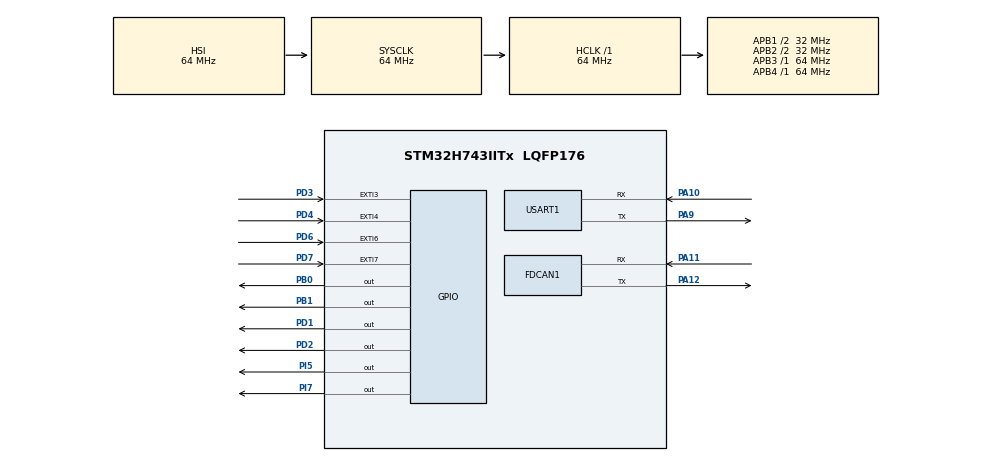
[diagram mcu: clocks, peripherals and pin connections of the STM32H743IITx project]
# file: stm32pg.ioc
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CORTEX_M7.CPU_DCache=Disabled
FDCAN1.CalculateBaudRateNominal=625000
FDCAN1.CalculateTimeBitNominal=1600
FDCAN1.CalculateTimeQuantumNominal=320.0
FDCAN1.Mode=FDCAN_MODE_NORMAL
IWDG1.Prescaler=IWDG_PRESCALER_32
Mcu.Family=STM32H7
Mcu.Name=STM32H743IITx
Mcu.Package=LQFP176
NVIC.EXTI9_5_IRQn=true\:3\:0\:true\:false\:true\:true\:true\:true
NVIC.FDCAN1_IT0_IRQn=true\:4\:0\:true\:false\:true\:true\:true\:true
NVIC.PriorityGroup=NVIC_PRIORITYGROUP_4
NVIC.TIM3_IRQn=true\:10\:0\:true\:false\:true\:true\:true\:true
NVIC.USART1_IRQn=true\:0\:0\:true\:false\:true\:true\:true\:true
PA10.GPIO_PuPd=GPIO_PULLUP
PA10.GPIO_Speed=GPIO_SPEED_FREQ_HIGH
PA10.Mode=Asynchronous
PA10.Signal=USART1_RX
PA11.GPIO_PuPd=GPIO_PULLUP
PA11.GPIO_Speed=GPIO_SPEED_FREQ_HIGH
PA11.Mode=FDCAN_Activate
PA11.Signal=FDCAN1_RX
PA12.GPIO_PuPd=GPIO_PULLUP
PA12.GPIO_Speed=GPIO_SPEED_FREQ_HIGH
PA12.Mode=FDCAN_Activate
PA12.Signal=FDCAN1_TX
PA9.GPIO_PuPd=GPIO_PULLUP
PA9.GPIO_Speed=GPIO_SPEED_FREQ_HIGH
PA9.Mode=Asynchronous
PA9.Signal=USART1_TX
PB0.GPIO_PuPd=GPIO_PULLUP
PB0.GPIO_Speed=GPIO_SPEED_FREQ_HIGH
PB0.PinState=GPIO_PIN_SET
PB0.Signal=GPIO_Output
PB1.GPIO_PuPd=GPIO_PULLUP
PB1.GPIO_Speed=GPIO_SPEED_FREQ_HIGH
PB1.PinState=GPIO_PIN_SET
PB1.Signal=GPIO_Output
PD1.GPIO_PuPd=GPIO_PULLUP
PD1.Signal=GPIO_Output
PD2.GPIO_PuPd=GPIO_PULLUP
PD2.Signal=GPIO_Output
PD3.GPIO_PuPd=GPIO_PULLUP
PD3.Signal=GPXTI3
PD4.GPIO_PuPd=GPIO_PULLUP
PD4.Signal=GPXTI4
PD6.GPIO_PuPd=GPIO_PULLUP
PD6.Signal=GPXTI6
PD7.GPIO_PuPd=GPIO_PULLUP
PD7.Signal=GPXTI7
PI5.GPIO_PuPd=GPIO_PULLUP
PI5.GPIO_Speed=GPIO_SPEED_FREQ_HIGH
PI5.PinState=GPIO_PIN_SET
PI5.Signal=GPIO_Output
PI7.GPIO_PuPd=GPIO_PULLUP
PI7.GPIO_Speed=GPIO_SPEED_FREQ_HIGH
PI7.PinState=GPIO_PIN_SET
PI7.Signal=GPIO_Output
ProjectManager.HeapSize=0x200
ProjectManager.StackSize=0x400
ProjectManager.TargetToolchain=STM32CubeIDE
RCC.ADCFreq_Value=129000000
RCC.APB1Freq_Value=32000000
RCC.APB2Freq_Value=32000000
RCC.APB3Freq_Value=64000000
RCC.APB4Freq_Value=64000000
RCC.CortexFreq_Value=64000000
RCC.D2PPRE1=RCC_APB1_DIV2
RCC.D2PPRE2=RCC_APB2_DIV2
RCC.DIVM1=4
RCC.DIVN1=9
RCC.DIVQ1=3
RCC.HCLKFreq_Value=64000000
RCC.PLLFRACN=3072
RCC.SYSCLKFreq_VALUE=64000000
RCC.USBFreq_Value=50000000
TIM3.Period=7
TIM3.Prescaler=199
USART1.VirtualMode-Asynchronous=VM_ASYNC
VP_IWDG1_VS_IWDG.Mode=IWDG_Activate
VP_TIM3_VS_ClockSourceINT.Mode=Internal
board=custom

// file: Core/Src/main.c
/* USER CODE BEGIN Header */
/**
  ******************************************************************************
  * @file           : main.c
  * @brief          : Main program body
  ******************************************************************************
  * @attention
  *
  * Copyright (c) 2023 STMicroelectronics.
  * All rights reserved.
  *
  * This software is licensed under terms that can be found in the LICENSE file
  * in the root directory of this software component.
  * If no LICENSE file comes with this software, it is provided AS-IS.
  *
  ******************************************************************************
  */
/* USER CODE END Header */
#include "main.h"

FDCAN_HandleTypeDef hfdcan1;

IWDG_HandleTypeDef hiwdg1;

TIM_HandleTypeDef htim3;

UART_HandleTypeDef huart1;

/* USER CODE BEGIN PV */
static uint8_t machine_sta = 0;//machine status
static uint8_t plane_sta=1,spray_sta=1;
static uint8_t pul_sta=1,dir_sta=1,ena_sta=1;
static uint32_t set_speed = 100;//set speed is 100 actually 70r/min motor output without reducer
static uint32_t delay_time = 1000000;

static uint8_t Gate1_seed_num = 0, Gate2_seed_num = 0;//seed number of each gate
static uint32_t receive_seed_num = 0b0;
static uint8_t receive_usart1[USART_REC_LEN];

static uint8_t LEDRED_Status= 0, LEDGREEN_Status = 0;

FDCAN_TxHeaderTypeDef TxHeader;
uint8_t *TxData;

FDCAN_RxHeaderTypeDef RxHeader;
uint8_t *RxData;
/* USER CODE END PV */

void SystemClock_Config(void);
static void MX_GPIO_Init(void);
static void MX_USART1_UART_Init(void);
static void MX_IWDG1_Init(void);
static void MX_FDCAN1_Init(void);
static void MX_TIM3_Init(void);
/* USER CODE BEGIN PFP */
void reload_tim3(uint32_t Period);//设置重装载的值，重新设置定时器时间

void motor_init();

uint32_t speed2Period(uint32_t speed);//speed r/min

void dif_fluoresent_seed(uint8_t num_Light_Gate2);

uint8_t FDCAN1_Send_Msg(uint8_t * msg,uint32_t len);
uint8_t FDCAN1_Receive_Msg(uint8_t *buf);
uint8_t Global_Status_set(uint8_t command);
/* USER CODE END PFP */

/* USER CODE BEGIN 0 */

#define LED0RED(n) (n ? HAL_GPIO_WritePin(GPIOB,GPIO_PIN_0,GPIO_PIN_SET): \
                HAL_GPIO_WritePin(GPIOB,GPIO_PIN_0,GPIO_PIN_RESET)) //led0 PB0
#define LED1GREEN(n) (n ? HAL_GPIO_WritePin(GPIOB,GPIO_PIN_1,GPIO_PIN_SET): \
                HAL_GPIO_WritePin(GPIOB,GPIO_PIN_1,GPIO_PIN_RESET)) //led1 PB1

//#define KEY_UP HAL_GPIO_ReadPin(GPIOA,GPIO_PIN_0) //KEY_UP  PA0
//#define KEY0 HAL_GPIO_ReadPin(GPIOH,GPIO_PIN_3) //KEY0  PH3
//#define KEY1 HAL_GPIO_ReadPin(GPIOH,GPIO_PIN_2) //KEY1  PH2
#define KEY2 HAL_GPIO_ReadPin(GPIOC,GPIO_PIN_13) //KEY1  PC13（按键开关）

#define Plane(n) (n ? HAL_GPIO_WritePin(GPIOD,GPIO_PIN_1,GPIO_PIN_SET): \
                HAL_GPIO_WritePin(GPIOD,GPIO_PIN_1,GPIO_PIN_RESET)) // plane PD1(挡板接口)

#define Spray_valve(n) (n ? HAL_GPIO_WritePin(GPIOD,GPIO_PIN_2,GPIO_PIN_SET): \
                HAL_GPIO_WritePin(GPIOD,GPIO_PIN_2,GPIO_PIN_RESET)) // Spray valve PD2(喷阀接口)

#define Light_Gate1 HAL_GPIO_ReadPin(GPIOD,GPIO_PIN_6) //Light_Gate1  PD6（光电门1信号）
#define Light_Gate2 HAL_GPIO_ReadPin(GPIOD,GPIO_PIN_7) //Light_Gate2  PD7（光电门2信号）

#define PUL_minus(n) (n ? HAL_GPIO_WritePin(GPIOI,GPIO_PIN_5,GPIO_PIN_SET): \
                HAL_GPIO_WritePin(GPIOI,GPIO_PIN_5,GPIO_PIN_RESET)) // Pulse signal PI5（电机脉冲信号）
//#define DIR_minus(n) (n ? HAL_GPIO_WritePin(GPIOI,GPIO_PIN_6,GPIO_PIN_SET): \
//                HAL_GPIO_WritePin(GPIOI,GPIO_PIN_6,GPIO_PIN_RESET)) // Direction signal PI6, unuseful（正反转，弃用）
#define ENA_minus(n) (n ? HAL_GPIO_WritePin(GPIOI,GPIO_PIN_7,GPIO_PIN_SET): \
                HAL_GPIO_WritePin(GPIOI,GPIO_PIN_7,GPIO_PIN_RESET)) // Enable signal PI7（电机启停接口）

/* USER CODE END 0 */

int main(void)
{

  /* MCU Configuration--------------------------------------------------------*/

  /* Reset of all peripherals, Initializes the Flash interface and the Systick. */
  HAL_Init();

  /* USER CODE BEGIN Init */
  RetargetInit(&huart1);
  /* USER CODE END Init */

  /* Configure the system clock */
  SystemClock_Config();

  /* Initialize all configured peripherals */
  MX_GPIO_Init();
  MX_USART1_UART_Init();
  MX_IWDG1_Init();
  MX_FDCAN1_Init();
  MX_TIM3_Init();
  /* USER CODE BEGIN 2 */
  motor_init();
  printf("Motor control, pul_sta = %d, ena_sta = %d\r\n",pul_sta,ena_sta);
  HAL_UART_Receive_IT(&huart1, (uint8_t *)receive_usart1, USART_REC_LEN);
  /* USER CODE END 2 */

  /* Infinite loop */
  while (1)
  {

    /* USER CODE BEGIN 3 */
    HAL_IWDG_Refresh(&hiwdg1);
    HAL_UART_Receive_IT(&huart1, (uint8_t *)receive_usart1, USART_REC_LEN);
  }
  /* USER CODE END 3 */
}

void SystemClock_Config(void)
{
  RCC_OscInitTypeDef RCC_OscInitStruct = {0};
  RCC_ClkInitTypeDef RCC_ClkInitStruct = {0};

  /** Supply configuration update enable
  */
  HAL_PWREx_ConfigSupply(PWR_LDO_SUPPLY);

  /** Configure the main internal regulator output voltage
  */
  __HAL_PWR_VOLTAGESCALING_CONFIG(PWR_REGULATOR_VOLTAGE_SCALE3);

  while(!__HAL_PWR_GET_FLAG(PWR_FLAG_VOSRDY)) {}

  /** Initializes the RCC Oscillators according to the specified parameters
  * in the RCC_OscInitTypeDef structure.
  */
  RCC_OscInitStruct.OscillatorType = RCC_OSCILLATORTYPE_HSI|RCC_OSCILLATORTYPE_LSI;
  RCC_OscInitStruct.HSIState = RCC_HSI_DIV1;
  RCC_OscInitStruct.HSICalibrationValue = RCC_HSICALIBRATION_DEFAULT;
  RCC_OscInitStruct.LSIState = RCC_LSI_ON;
  RCC_OscInitStruct.PLL.PLLState = RCC_PLL_ON;
  RCC_OscInitStruct.PLL.PLLSource = RCC_PLLSOURCE_HSI;
  RCC_OscInitStruct.PLL.PLLM = 4;
  RCC_OscInitStruct.PLL.PLLN = 9;
  RCC_OscInitStruct.PLL.PLLP = 2;
  RCC_OscInitStruct.PLL.PLLQ = 3;
  RCC_OscInitStruct.PLL.PLLR = 2;
  RCC_OscInitStruct.PLL.PLLRGE = RCC_PLL1VCIRANGE_3;
  RCC_OscInitStruct.PLL.PLLVCOSEL = RCC_PLL1VCOMEDIUM;
  RCC_OscInitStruct.PLL.PLLFRACN = 3072;
  if (HAL_RCC_OscConfig(&RCC_OscInitStruct) != HAL_OK)
  {
    Error_Handler();
  }

  /** Initializes the CPU, AHB and APB buses clocks
  */
  RCC_ClkInitStruct.ClockType = RCC_CLOCKTYPE_HCLK|RCC_CLOCKTYPE_SYSCLK
                              |RCC_CLOCKTYPE_PCLK1|RCC_CLOCKTYPE_PCLK2
                              |RCC_CLOCKTYPE_D3PCLK1|RCC_CLOCKTYPE_D1PCLK1;
  RCC_ClkInitStruct.SYSCLKSource = RCC_SYSCLKSOURCE_HSI;
  RCC_ClkInitStruct.SYSCLKDivider = RCC_SYSCLK_DIV1;
  RCC_ClkInitStruct.AHBCLKDivider = RCC_HCLK_DIV1;
  RCC_ClkInitStruct.APB3CLKDivider = RCC_APB3_DIV1;
  RCC_ClkInitStruct.APB1CLKDivider = RCC_APB1_DIV2;
  RCC_ClkInitStruct.APB2CLKDivider = RCC_APB2_DIV2;
  RCC_ClkInitStruct.APB4CLKDivider = RCC_APB4_DIV1;

  if (HAL_RCC_ClockConfig(&RCC_ClkInitStruct, FLASH_LATENCY_1) != HAL_OK)
  {
    Error_Handler();
  }
}

static void MX_FDCAN1_Init(void)
{

  /* USER CODE BEGIN FDCAN1_Init 0 */
    FDCAN_FilterTypeDef hfdcan1_filter;
  /* USER CODE END FDCAN1_Init 0 */

  hfdcan1.Instance = FDCAN1;
  hfdcan1.Init.FrameFormat = FDCAN_FRAME_CLASSIC;
  hfdcan1.Init.Mode = FDCAN_MODE_NORMAL;
  hfdcan1.Init.AutoRetransmission = DISABLE;
  hfdcan1.Init.TransmitPause = DISABLE;
  hfdcan1.Init.ProtocolException = DISABLE;
  hfdcan1.Init.NominalPrescaler = 16;
  hfdcan1.Init.NominalSyncJumpWidth = 1;
  hfdcan1.Init.NominalTimeSeg1 = 2;
  hfdcan1.Init.NominalTimeSeg2 = 2;
  hfdcan1.Init.DataPrescaler = 1;
  hfdcan1.Init.DataSyncJumpWidth = 1;
  hfdcan1.Init.DataTimeSeg1 = 1;
  hfdcan1.Init.DataTimeSeg2 = 1;
  hfdcan1.Init.MessageRAMOffset = 0;
  hfdcan1.Init.StdFiltersNbr = 0;
  hfdcan1.Init.ExtFiltersNbr = 0;
  hfdcan1.Init.RxFifo0ElmtsNbr = 0;
  hfdcan1.Init.RxFifo0ElmtSize = FDCAN_DATA_BYTES_8;
  hfdcan1.Init.RxFifo1ElmtsNbr = 0;
  hfdcan1.Init.RxFifo1ElmtSize = FDCAN_DATA_BYTES_8;
  hfdcan1.Init.RxBuffersNbr = 0;
  hfdcan1.Init.RxBufferSize = FDCAN_DATA_BYTES_8;
  hfdcan1.Init.TxEventsNbr = 0;
  hfdcan1.Init.TxBuffersNbr = 0;
  hfdcan1.Init.TxFifoQueueElmtsNbr = 0;
  hfdcan1.Init.TxFifoQueueMode = FDCAN_TX_FIFO_OPERATION;
  hfdcan1.Init.TxElmtSize = FDCAN_DATA_BYTES_8;
  if (HAL_FDCAN_Init(&hfdcan1) != HAL_OK)
  {
    Error_Handler();
  }
  /* USER CODE BEGIN FDCAN1_Init 2 */
  hfdcan1_filter.IdType = FDCAN_STANDARD_ID;
    hfdcan1_filter.FilterIndex = 0;
    hfdcan1_filter.FilterType = FDCAN_FILTER_MASK;
    hfdcan1_filter.FilterConfig = FDCAN_FILTER_TO_RXFIFO0;
    hfdcan1_filter.FilterID1 = 0x0000;
    hfdcan1_filter.FilterID2 = 0x0000;
    if(HAL_FDCAN_ConfigFilter(&hfdcan1, &hfdcan1_filter) != HAL_OK)
    {
      Error_Handler();
    }
    HAL_FDCAN_Start(&hfdcan1);

  HAL_FDCAN_ActivateNotification(&hfdcan1, FDCAN_IT_RX_FIFO0_NEW_MESSAGE, 0);
  /* USER CODE END FDCAN1_Init 2 */

}

static void MX_IWDG1_Init(void)
{

  hiwdg1.Instance = IWDG1;
  hiwdg1.Init.Prescaler = IWDG_PRESCALER_32;
  hiwdg1.Init.Window = 4095;
  hiwdg1.Init.Reload = 4095;
  if (HAL_IWDG_Init(&hiwdg1) != HAL_OK)
  {
    Error_Handler();
  }

}

static void MX_TIM3_Init(void)
{

  TIM_ClockConfigTypeDef sClockSourceConfig = {0};
  TIM_MasterConfigTypeDef sMasterConfig = {0};

  htim3.Instance = TIM3;
  htim3.Init.Prescaler = 199;
  htim3.Init.CounterMode = TIM_COUNTERMODE_UP;
  htim3.Init.Period = 7;
  htim3.Init.ClockDivision = TIM_CLOCKDIVISION_DIV1;
  htim3.Init.AutoReloadPreload = TIM_AUTORELOAD_PRELOAD_DISABLE;
  if (HAL_TIM_Base_Init(&htim3) != HAL_OK)
  {
    Error_Handler();
  }
  sClockSourceConfig.ClockSource = TIM_CLOCKSOURCE_INTERNAL;
  if (HAL_TIM_ConfigClockSource(&htim3, &sClockSourceConfig) != HAL_OK)
  {
    Error_Handler();
  }
  sMasterConfig.MasterOutputTrigger = TIM_TRGO_RESET;
  sMasterConfig.MasterSlaveMode = TIM_MASTERSLAVEMODE_DISABLE;
  if (HAL_TIMEx_MasterConfigSynchronization(&htim3, &sMasterConfig) != HAL_OK)
  {
    Error_Handler();
  }
  /* USER CODE BEGIN TIM3_Init 2 */
    HAL_TIM_Base_Start_IT(&htim3);
  /* USER CODE END TIM3_Init 2 */

}

static void MX_USART1_UART_Init(void)
{

  huart1.Instance = USART1;
  huart1.Init.BaudRate = 115200;
  huart1.Init.WordLength = UART_WORDLENGTH_8B;
  huart1.Init.StopBits = UART_STOPBITS_1;
  huart1.Init.Parity = UART_PARITY_NONE;
  huart1.Init.Mode = UART_MODE_TX_RX;
  huart1.Init.HwFlowCtl = UART_HWCONTROL_NONE;
  huart1.Init.OverSampling = UART_OVERSAMPLING_16;
  huart1.Init.OneBitSampling = UART_ONE_BIT_SAMPLE_DISABLE;
  huart1.Init.ClockPrescaler = UART_PRESCALER_DIV1;
  huart1.AdvancedInit.AdvFeatureInit = UART_ADVFEATURE_NO_INIT;
  if (HAL_UART_Init(&huart1) != HAL_OK)
  {
    Error_Handler();
  }
  if (HAL_UARTEx_SetTxFifoThreshold(&huart1, UART_TXFIFO_THRESHOLD_1_8) != HAL_OK)
  {
    Error_Handler();
  }
  if (HAL_UARTEx_SetRxFifoThreshold(&huart1, UART_RXFIFO_THRESHOLD_1_8) != HAL_OK)
  {
    Error_Handler();
  }
  if (HAL_UARTEx_DisableFifoMode(&huart1) != HAL_OK)
  {
    Error_Handler();
  }
  /* USER CODE BEGIN USART1_Init 2 */
    HAL_UART_Receive_IT(&huart1, (uint8_t *)receive_usart1, USART_REC_LEN);
  /* USER CODE END USART1_Init 2 */

}

static void MX_GPIO_Init(void)
{
  GPIO_InitTypeDef GPIO_InitStruct = {0};

  /* GPIO Ports Clock Enable */
  __HAL_RCC_GPIOB_CLK_ENABLE();
  __HAL_RCC_GPIOA_CLK_ENABLE();
  __HAL_RCC_GPIOD_CLK_ENABLE();
  __HAL_RCC_GPIOI_CLK_ENABLE();

  /*Configure GPIO pin Output Level */
  HAL_GPIO_WritePin(GPIOB, GPIO_PIN_0|GPIO_PIN_1, GPIO_PIN_SET);

  /*Configure GPIO pin Output Level */
  HAL_GPIO_WritePin(GPIOD, GPIO_PIN_1|GPIO_PIN_2, GPIO_PIN_RESET);

  /*Configure GPIO pin Output Level */
  HAL_GPIO_WritePin(GPIOI, GPIO_PIN_5|GPIO_PIN_7, GPIO_PIN_SET);

  /*Configure GPIO pins : PB0 PB1 */
  GPIO_InitStruct.Pin = GPIO_PIN_0|GPIO_PIN_1;
  GPIO_InitStruct.Mode = GPIO_MODE_OUTPUT_PP;
  GPIO_InitStruct.Pull = GPIO_PULLUP;
  GPIO_InitStruct.Speed = GPIO_SPEED_FREQ_HIGH;
  HAL_GPIO_Init(GPIOB, &GPIO_InitStruct);

  /*Configure GPIO pins : PD1 PD2 */
  GPIO_InitStruct.Pin = GPIO_PIN_1|GPIO_PIN_2;
  GPIO_InitStruct.Mode = GPIO_MODE_OUTPUT_PP;
  GPIO_InitStruct.Pull = GPIO_PULLUP;
  GPIO_InitStruct.Speed = GPIO_SPEED_FREQ_LOW;
  HAL_GPIO_Init(GPIOD, &GPIO_InitStruct);

  /*Configure GPIO pins : PD3 PD4 PD6 PD7 */
  GPIO_InitStruct.Pin = GPIO_PIN_3|GPIO_PIN_4|GPIO_PIN_6|GPIO_PIN_7;
  GPIO_InitStruct.Mode = GPIO_MODE_IT_RISING;
  GPIO_InitStruct.Pull = GPIO_PULLUP;
  HAL_GPIO_Init(GPIOD, &GPIO_InitStruct);

  /*Configure GPIO pins : PI5 PI7 */
  GPIO_InitStruct.Pin = GPIO_PIN_5|GPIO_PIN_7;
  GPIO_InitStruct.Mode = GPIO_MODE_OUTPUT_PP;
  GPIO_InitStruct.Pull = GPIO_PULLUP;
  GPIO_InitStruct.Speed = GPIO_SPEED_FREQ_HIGH;
  HAL_GPIO_Init(GPIOI, &GPIO_InitStruct);

  /* EXTI interrupt init*/
  HAL_NVIC_SetPriority(EXTI9_5_IRQn, 3, 0);
  HAL_NVIC_EnableIRQ(EXTI9_5_IRQn);

}

/* USER CODE BEGIN 4 */
void HAL_GPIO_EXTI_Callback(uint16_t GPIO_Pin)
{
    switch (GPIO_Pin) {
        case GPIO_PIN_6: {//light gate1 detect
            if (Light_Gate1 == 0) {
                printf("No. %d passed! \r\n",Gate1_seed_num);
                ++Gate1_seed_num;
                if(Gate1_seed_num > 32)
                {
                    Gate1_seed_num = 1;
                }
            }
            break;
        }case GPIO_PIN_7: {//light gate2 detect
            if (Light_Gate2 == 0) {
                printf("No. %d passed\r\n",Gate2_seed_num);
                if(Gate2_seed_num > Gate1_seed_num){
                    printf("Error, Gate2_seed_num > Gate1_seed_num\r\n");
                    break;
                }
                dif_fluoresent_seed(Gate2_seed_num);
                ++Gate2_seed_num;
                if(Gate2_seed_num > 32)
                {
                    Gate2_seed_num = 1;
                    receive_seed_num=0b0;
                }
            }
            break;
        }
        case GPIO_PIN_13: {//key2
            if (KEY2 == 0) {// start/pause the motor,disable
                printf("key2 is touched, motor status changes\r\n");
                ena_sta = !ena_sta;
                ENA_minus(ena_sta);
                LED0RED(ena_sta);
                LED1GREEN(!ena_sta);
                printf("ena_sta is %d\r\n",ena_sta);
            }
            break;
        }
        default:
            break;
    }
}

void HAL_UART_RxCpltCallback(UART_HandleTypeDef *huart) {
    if(huart->Instance==USART1)//如果是串口1//串口1接收中断，接收来自工控屏的信息格式：从左往右共三位，第一位：状态（0：启动，1：暂停，2：终止），第二、三位为吸附轮速度，第四位为回车
    {
        if(receive_usart1[3] == 0xd)//如果接收到的数据是回车
        {
            if(Global_Status_set(receive_usart1[0] != '0'))
            {
                printf("Status stop/pause!");
            }
            else
                if( receive_usart1[1]>='0' && receive_usart1[1]<='9' &&receive_usart1[2]>= '0' && receive_usart1[2]<='9')
            {
                receive_usart1[3] = '\0';
                printf("receive_usart1 = %s\r\n",receive_usart1);
                set_speed = (receive_usart1[0]-'0')*10 + (receive_usart1[1]-'0');
//                reload_tim3(speed2Period(set_speed));//设置脉冲信号频率，不能在此处设置，可能定时器处于工作中期
            }
        }
        HAL_UART_Receive_IT(&huart1, (uint8_t*)receive_usart1, USART_REC_LEN);
    }
}

void HAL_TIM_PeriodElapsedCallback(TIM_HandleTypeDef *htim)//脉冲信号定时器中断
{
    if(htim==(&htim3) && ena_sta == 1)//送出脉冲信号
    {
            PUL_minus(pul_sta);
            pul_sta = !pul_sta;
        reload_tim3(speed2Period(set_speed));//周期结束重设定时器
    }
}

void HAL_FDCAN_RxFifo0Callback(FDCAN_HandleTypeDef *hfdcan, uint32_t RxFifo0ITs)
{
    if(hfdcan == &hfdcan1) {//如果是CAN1,接收上位机发送的荧光种子代码，格式：从左往右数共三位，第一、二位：荧光种子代码，第三位为回车
        if ((RxFifo0ITs & FDCAN_IT_RX_FIFO0_NEW_MESSAGE) != RESET) {
            Error_Handler();
        }
        uint8_t buf[8];
        uint8_t len;
        len = FDCAN1_Receive_Msg(buf);
        if (len) {
            printf("receive data from can success\r\n");
            uint8_t temp_num;
            if (buf[2] == 0xd && buf[0] >= '0' && buf[0] <= '9'
                && buf[1] >= '0' && buf[1] <= '9')//如果接收到的数据是回车
            {
                buf[2] = '\0';
                printf("receive_can = %s\r\n", buf);
                temp_num = (buf[0] - '0') * 10 + (buf[1] - '0');
                if (temp_num <= 32 && temp_num > 0) {
                    receive_seed_num |= (0b1 << (temp_num - 1));
                    printf("receive_seed_num = %lu\r\n", receive_seed_num);
                }
            }
        }
    }
}

uint32_t speed2Period(uint32_t speed)//speed 1r/min == 1/60000r/ms, 1ms = 1000 us
{
    if(speed==0)
    {
        return 1000000;
    }
    uint16_t step = 6400; //check figure, current status is sw5 off, sw6 on, sw7 off, sw8 on.
    delay_time =(uint32_t)(500.0 * 60000.0/(step * speed) + 0.5);//1us为一个单位
    if(delay_time<3)
        delay_time = 3;
    return delay_time - 1;
}//速度转为脉冲信号周期

void motor_init()
{
    PUL_minus(pul_sta);
    ENA_minus(ena_sta);
}

void reload_tim3(uint32_t Period)//Tout溢出时间us = (Prescaler+1) / Tlck *10000000us * (Period+1); Tlck= 200Mhz
{
    htim3.Init.Period = Period;//周期数，计时周期数+1，即多少1us = （199+1）/200Mhz * 1000000000us
}

void dif_fluoresent_seed(uint8_t num_Light_Gate2)
{
    uint8_t temp = 0b1;
    temp = temp<<num_Light_Gate2;
    if(receive_seed_num&temp)
    {
        spray_sta = 1;
        Spray_valve(spray_sta);
        printf("Match successfully!\r\n");//use Spray valve here
    }
    else
    {
        printf("Fail to match seed!\r\n");
        spray_sta = 0;
    }
}

uint8_t FDCAN1_Send_Msg(uint8_t * msg,uint32_t len)
{
    TxHeader.Identifier=0x12;                           //32位ID
    TxHeader.IdType=FDCAN_STANDARD_ID;                  //标准ID
    TxHeader.TxFrameType=FDCAN_DATA_FRAME;              //数据帧
    TxHeader.DataLength=len;                            //数据长度
    TxHeader.ErrorStateIndicator=FDCAN_ESI_ACTIVE;
    TxHeader.BitRateSwitch=FDCAN_BRS_OFF;               //关闭速率切换
    TxHeader.FDFormat=FDCAN_CLASSIC_CAN;                //传统的CAN模式
    TxHeader.TxEventFifoControl=FDCAN_NO_TX_EVENTS;     //无发送事件
    TxHeader.MessageMarker=0;

    if(HAL_FDCAN_AddMessageToTxFifoQ(&hfdcan1,&TxHeader,msg)!=HAL_OK) return 1;//发送
    return 0;
}
uint8_t FDCAN1_Receive_Msg(uint8_t *buf)
{
    if(HAL_FDCAN_GetRxMessage(&hfdcan1,FDCAN_RX_FIFO0,&RxHeader,buf)!=HAL_OK)
        return 0;//接收数据
    return RxHeader.DataLength>>16;
}

uint8_t Global_Status_set(uint8_t command)
{
    switch (command) {
        case 0:{
            ENA_minus(1);
        }
        case 1:{
            ENA_minus(0);
        }
        case 2:{
            if(Gate1_seed_num && Gate2_seed_num == 0)//if Gate1 and Gate2 are empty for a while, then stop the motor
                ENA_minus(0);
        }
    }
    return command;
}
/* USER CODE END 4 */

void Error_Handler(void)
{
  __disable_irq();
  while (1)
  {
  }
}
